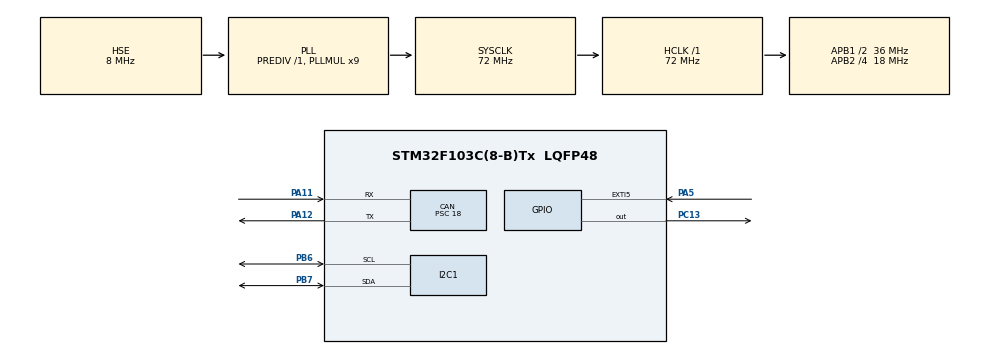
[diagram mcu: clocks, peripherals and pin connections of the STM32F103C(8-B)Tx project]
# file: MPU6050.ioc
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CAN.BS1=CAN_BS1_2TQ
CAN.CalculateBaudRate=500000
CAN.CalculateTimeBit=2000
CAN.CalculateTimeQuantum=500.0
CAN.Prescaler=18
Mcu.Family=STM32F1
Mcu.Name=STM32F103C(8-B)Tx
Mcu.Package=LQFP48
NVIC.CAN1_RX1_IRQn=true\:0\:0\:false\:false\:true\:true\:true\:true
NVIC.EXTI9_5_IRQn=true\:1\:0\:true\:false\:true\:true\:true\:true
NVIC.PriorityGroup=NVIC_PRIORITYGROUP_4
NVIC.TIM2_IRQn=true\:1\:0\:true\:false\:true\:true\:true\:true
NVIC.USB_LP_CAN1_RX0_IRQn=true\:0\:0\:false\:false\:true\:true\:true\:true
PA11.Mode=CAN_Activate
PA11.Signal=CAN_RX
PA12.Mode=CAN_Activate
PA12.Signal=CAN_TX
PA13.Mode=Serial_Wire
PA13.Signal=SYS_JTMS-SWDIO
PA14.Mode=Serial_Wire
PA14.Signal=SYS_JTCK-SWCLK
PA5.Signal=GPXTI5
PB6.Mode=I2C
PB6.Signal=I2C1_SCL
PB7.Mode=I2C
PB7.Signal=I2C1_SDA
PC13-TAMPER-RTC.Signal=GPIO_Output
PC14-OSC32_IN.Mode=LSE-External-Oscillator
PC14-OSC32_IN.Signal=RCC_OSC32_IN
PC15-OSC32_OUT.Mode=LSE-External-Oscillator
PC15-OSC32_OUT.Signal=RCC_OSC32_OUT
PD0-OSC_IN.Mode=HSE-External-Oscillator
PD0-OSC_IN.Signal=RCC_OSC_IN
PD1-OSC_OUT.Mode=HSE-External-Oscillator
PD1-OSC_OUT.Signal=RCC_OSC_OUT
ProjectManager.HeapSize=0x200
ProjectManager.StackSize=0x400
ProjectManager.TargetToolchain=MDK-ARM V5.32
RCC.AHBFreq_Value=72000000
RCC.APB1CLKDivider=RCC_HCLK_DIV2
RCC.APB1Freq_Value=36000000
RCC.APB1TimFreq_Value=72000000
RCC.APB2CLKDivider=RCC_HCLK_DIV4
RCC.APB2Freq_Value=18000000
RCC.APB2TimFreq_Value=36000000
RCC.HCLKFreq_Value=72000000
RCC.PLLMUL=RCC_PLL_MUL9
RCC.PLLSourceVirtual=RCC_PLLSOURCE_HSE
RCC.SYSCLKFreq_VALUE=72000000
RCC.SYSCLKSource=RCC_SYSCLKSOURCE_PLLCLK
RCC.USBFreq_Value=72000000
TIM1.Period=65535
TIM1.Prescaler=71
TIM2.Period=999
TIM2.Prescaler=1079
VP_TIM1_VS_ClockSourceINT.Mode=Internal
VP_TIM2_VS_ClockSourceINT.Mode=Internal
board=custom

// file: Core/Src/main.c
/* USER CODE BEGIN Header */
/**
  ******************************************************************************
  * @file           : main.c
  * @brief          : Main program body
  ******************************************************************************
  * @attention
  *
  * Copyright (c) 2023 STMicroelectronics.
  * All rights reserved.
  *
  * This software is licensed under terms that can be found in the LICENSE file
  * in the root directory of this software component.
  * If no LICENSE file comes with this software, it is provided AS-IS.
  *
  ******************************************************************************
  */
/* USER CODE END Header */
#include "main.h"

/* USER CODE BEGIN Includes */
#include "CLCD_I2C.h"
#include "mpu6050.h"
#include "convert_lib.h"

/* USER CODE END Includes */

/* USER CODE BEGIN PD */
#define diameter            0.4 //(m)
#define PI                  3.14159
#define ACCELERATION				0
#define GYROSCOPE						1
#define ANGLE						  	2
#define IDLE								3
#define AUTO             		4
#define MANUAL 							5
#define MASTER_ID      			0x281
#define BACK_WHEEL_ID   		0x012
#define FRONT_WHEEL_ID   		0x274
#define BREAK      					0x222
/* USER CODE END PD */

CAN_HandleTypeDef hcan;

I2C_HandleTypeDef hi2c1;

TIM_HandleTypeDef htim1;
TIM_HandleTypeDef htim2;

/* USER CODE BEGIN PV */
// IMU variable
MPU6050_t 				Data;
uint16_t cnt = 0;

// I2C of LCD 16x2
CLCD_I2C_Name LCD1;
float adcValue;
float aileValue;
uint8_t mode=0 ;
uint8_t mode_1 = 3, changeMode;
char lcdAcelX[16];
char lcdAcelY[16];
char lcdADC[16];

float yawValue;

// CAN protocol variable
CAN_HandleTypeDef     CanHandle;
CAN_TxHeaderTypeDef   TxHeader;
CAN_RxHeaderTypeDef   RxHeader;
uint8_t               TxData[8];
uint8_t               RxData[8];
uint32_t              TxMailbox;

/* USER CODE END PV */

void SystemClock_Config(void);
static void MX_GPIO_Init(void);
static void MX_I2C1_Init(void);
static void MX_CAN_Init(void);
static void MX_TIM1_Init(void);
static void MX_TIM2_Init(void);
/* USER CODE BEGIN PFP */
void HAL_TIM_PeriodElapsedCallback(TIM_HandleTypeDef *htim);
void dc_motor_control(float setpoint, float input);
float pid_controller(float setpoint, float input);
void WriteCAN(uint16_t ID,uint8_t *data);
void HAL_CAN_RxFifo0MsgPendingCallback(CAN_HandleTypeDef *hcan);
void HAL_GPIO_EXTI_Callback(uint16_t GPIO_Pin);
/* USER CODE END PFP */

int main(void)
{

  /* MCU Configuration--------------------------------------------------------*/

  /* Reset of all peripherals, Initializes the Flash interface and the Systick. */
  HAL_Init();

  /* Configure the system clock */
  SystemClock_Config();

  /* Initialize all configured peripherals */
  MX_GPIO_Init();
  MX_I2C1_Init();
  MX_CAN_Init();
  MX_TIM1_Init();
  MX_TIM2_Init();
  /* USER CODE BEGIN 2 */
	// start analog to digital convert

  //Start timer
	HAL_TIM_Base_Start(&htim1);

	// Initial CAN protocol
	HAL_CAN_Start(&hcan);
	HAL_CAN_ActivateNotification(&hcan, CAN_IT_RX_FIFO0_MSG_PENDING);

  TxHeader.DLC = 8;
  TxHeader.ExtId = 0;
  TxHeader.IDE = CAN_ID_STD;
  TxHeader.RTR = CAN_RTR_DATA;
  TxHeader.TransmitGlobalTime = DISABLE;

	HAL_Delay(1000);
	while(MPU6050_Init(&hi2c1)){	HAL_GPIO_WritePin(GPIOC,GPIO_PIN_13,1);}

  /* USER CODE END 2 */

  /* Infinite loop */
  while (1)
  {

	}
}

void SystemClock_Config(void)
{
  RCC_OscInitTypeDef RCC_OscInitStruct = {0};
  RCC_ClkInitTypeDef RCC_ClkInitStruct = {0};

  /** Initializes the RCC Oscillators according to the specified parameters
  * in the RCC_OscInitTypeDef structure.
  */
  RCC_OscInitStruct.OscillatorType = RCC_OSCILLATORTYPE_HSE;
  RCC_OscInitStruct.HSEState = RCC_HSE_ON;
  RCC_OscInitStruct.HSEPredivValue = RCC_HSE_PREDIV_DIV1;
  RCC_OscInitStruct.HSIState = RCC_HSI_ON;
  RCC_OscInitStruct.PLL.PLLState = RCC_PLL_ON;
  RCC_OscInitStruct.PLL.PLLSource = RCC_PLLSOURCE_HSE;
  RCC_OscInitStruct.PLL.PLLMUL = RCC_PLL_MUL9;
  if (HAL_RCC_OscConfig(&RCC_OscInitStruct) != HAL_OK)
  {
    Error_Handler();
  }

  /** Initializes the CPU, AHB and APB buses clocks
  */
  RCC_ClkInitStruct.ClockType = RCC_CLOCKTYPE_HCLK|RCC_CLOCKTYPE_SYSCLK
                              |RCC_CLOCKTYPE_PCLK1|RCC_CLOCKTYPE_PCLK2;
  RCC_ClkInitStruct.SYSCLKSource = RCC_SYSCLKSOURCE_PLLCLK;
  RCC_ClkInitStruct.AHBCLKDivider = RCC_SYSCLK_DIV1;
  RCC_ClkInitStruct.APB1CLKDivider = RCC_HCLK_DIV2;
  RCC_ClkInitStruct.APB2CLKDivider = RCC_HCLK_DIV4;

  if (HAL_RCC_ClockConfig(&RCC_ClkInitStruct, FLASH_LATENCY_2) != HAL_OK)
  {
    Error_Handler();
  }
}

static void MX_CAN_Init(void)
{

  hcan.Instance = CAN1;
  hcan.Init.Prescaler = 18;
  hcan.Init.Mode = CAN_MODE_NORMAL;
  hcan.Init.SyncJumpWidth = CAN_SJW_1TQ;
  hcan.Init.TimeSeg1 = CAN_BS1_2TQ;
  hcan.Init.TimeSeg2 = CAN_BS2_1TQ;
  hcan.Init.TimeTriggeredMode = DISABLE;
  hcan.Init.AutoBusOff = DISABLE;
  hcan.Init.AutoWakeUp = DISABLE;
  hcan.Init.AutoRetransmission = DISABLE;
  hcan.Init.ReceiveFifoLocked = DISABLE;
  hcan.Init.TransmitFifoPriority = DISABLE;
  if (HAL_CAN_Init(&hcan) != HAL_OK)
  {
    Error_Handler();
  }
  /* USER CODE BEGIN CAN_Init 2 */
	  CAN_FilterTypeDef canfilterconfig;

  canfilterconfig.FilterActivation = CAN_FILTER_ENABLE;
  canfilterconfig.FilterBank = 10;
  canfilterconfig.FilterFIFOAssignment = CAN_RX_FIFO0;
  canfilterconfig.FilterIdHigh = 0x0000;
  canfilterconfig.FilterIdLow = 0x0000;
  canfilterconfig.FilterMaskIdHigh = 0x0000;
  canfilterconfig.FilterMaskIdLow = 0x0000;
  canfilterconfig.FilterMode = CAN_FILTERMODE_IDMASK;
  canfilterconfig.FilterScale = CAN_FILTERSCALE_32BIT;
  canfilterconfig.SlaveStartFilterBank = 13;

  HAL_CAN_ConfigFilter(&hcan, &canfilterconfig);

  /* USER CODE END CAN_Init 2 */

}

static void MX_I2C1_Init(void)
{

  hi2c1.Instance = I2C1;
  hi2c1.Init.ClockSpeed = 100000;
  hi2c1.Init.DutyCycle = I2C_DUTYCYCLE_2;
  hi2c1.Init.OwnAddress1 = 0;
  hi2c1.Init.AddressingMode = I2C_ADDRESSINGMODE_7BIT;
  hi2c1.Init.DualAddressMode = I2C_DUALADDRESS_DISABLE;
  hi2c1.Init.OwnAddress2 = 0;
  hi2c1.Init.GeneralCallMode = I2C_GENERALCALL_DISABLE;
  hi2c1.Init.NoStretchMode = I2C_NOSTRETCH_DISABLE;
  if (HAL_I2C_Init(&hi2c1) != HAL_OK)
  {
    Error_Handler();
  }

}

static void MX_TIM1_Init(void)
{

  TIM_ClockConfigTypeDef sClockSourceConfig = {0};
  TIM_MasterConfigTypeDef sMasterConfig = {0};

  htim1.Instance = TIM1;
  htim1.Init.Prescaler = 71;
  htim1.Init.CounterMode = TIM_COUNTERMODE_UP;
  htim1.Init.Period = 65535;
  htim1.Init.ClockDivision = TIM_CLOCKDIVISION_DIV1;
  htim1.Init.RepetitionCounter = 0;
  htim1.Init.AutoReloadPreload = TIM_AUTORELOAD_PRELOAD_DISABLE;
  if (HAL_TIM_Base_Init(&htim1) != HAL_OK)
  {
    Error_Handler();
  }
  sClockSourceConfig.ClockSource = TIM_CLOCKSOURCE_INTERNAL;
  if (HAL_TIM_ConfigClockSource(&htim1, &sClockSourceConfig) != HAL_OK)
  {
    Error_Handler();
  }
  sMasterConfig.MasterOutputTrigger = TIM_TRGO_RESET;
  sMasterConfig.MasterSlaveMode = TIM_MASTERSLAVEMODE_DISABLE;
  if (HAL_TIMEx_MasterConfigSynchronization(&htim1, &sMasterConfig) != HAL_OK)
  {
    Error_Handler();
  }

}

static void MX_TIM2_Init(void)
{

  TIM_ClockConfigTypeDef sClockSourceConfig = {0};
  TIM_MasterConfigTypeDef sMasterConfig = {0};

  htim2.Instance = TIM2;
  htim2.Init.Prescaler = 1079;
  htim2.Init.CounterMode = TIM_COUNTERMODE_UP;
  htim2.Init.Period = 999;
  htim2.Init.ClockDivision = TIM_CLOCKDIVISION_DIV1;
  htim2.Init.AutoReloadPreload = TIM_AUTORELOAD_PRELOAD_DISABLE;
  if (HAL_TIM_Base_Init(&htim2) != HAL_OK)
  {
    Error_Handler();
  }
  sClockSourceConfig.ClockSource = TIM_CLOCKSOURCE_INTERNAL;
  if (HAL_TIM_ConfigClockSource(&htim2, &sClockSourceConfig) != HAL_OK)
  {
    Error_Handler();
  }
  sMasterConfig.MasterOutputTrigger = TIM_TRGO_RESET;
  sMasterConfig.MasterSlaveMode = TIM_MASTERSLAVEMODE_DISABLE;
  if (HAL_TIMEx_MasterConfigSynchronization(&htim2, &sMasterConfig) != HAL_OK)
  {
    Error_Handler();
  }

}

static void MX_GPIO_Init(void)
{
  GPIO_InitTypeDef GPIO_InitStruct = {0};

  /* GPIO Ports Clock Enable */
  __HAL_RCC_GPIOC_CLK_ENABLE();
  __HAL_RCC_GPIOD_CLK_ENABLE();
  __HAL_RCC_GPIOA_CLK_ENABLE();
  __HAL_RCC_GPIOB_CLK_ENABLE();

  /*Configure GPIO pin Output Level */
  HAL_GPIO_WritePin(GPIOC, GPIO_PIN_13, GPIO_PIN_RESET);

  /*Configure GPIO pin : PC13 */
  GPIO_InitStruct.Pin = GPIO_PIN_13;
  GPIO_InitStruct.Mode = GPIO_MODE_OUTPUT_PP;
  GPIO_InitStruct.Pull = GPIO_NOPULL;
  GPIO_InitStruct.Speed = GPIO_SPEED_FREQ_LOW;
  HAL_GPIO_Init(GPIOC, &GPIO_InitStruct);

  /*Configure GPIO pin : PA5 */
  GPIO_InitStruct.Pin = GPIO_PIN_5;
  GPIO_InitStruct.Mode = GPIO_MODE_IT_RISING;
  GPIO_InitStruct.Pull = GPIO_NOPULL;
  HAL_GPIO_Init(GPIOA, &GPIO_InitStruct);

  /* EXTI interrupt init*/
  HAL_NVIC_SetPriority(EXTI9_5_IRQn, 0, 0);
  HAL_NVIC_EnableIRQ(EXTI9_5_IRQn);

}

/* USER CODE BEGIN 4 */

void HAL_GPIO_EXTI_Callback(uint16_t GPIO_Pin)
{
	if (GPIO_Pin==GPIO_PIN_5)
	{
		if(cnt < 3000 )
		{
			MPU6050_Calculation_offset_Gryo(&hi2c1, &Data);
			cnt++;
			if(cnt==3000)
			{
				Data.gyroZoffset = Data.gyroZoffset/3000.0;
				HAL_TIM_Base_Start_IT(&htim2);
			}
		}
		else
		MPU6050_Read_All(&hi2c1, &Data);
	}
}

void WriteCAN(uint16_t ID,uint8_t *data)
{
	uint8_t dataOut[8];
	TxHeader.StdId = ID;
	dataOut[0] = data[0];
	dataOut[1] = data[1];
	dataOut[2] = data[2];
	dataOut[3] = data[3];
	dataOut[4] = data[4];
	dataOut[5] = data[5];
	dataOut[6] = data[6];
	dataOut[7] = data[7];
	HAL_CAN_AddTxMessage(&hcan, &TxHeader, dataOut, &TxMailbox);

}
void HAL_CAN_RxFifo0MsgPendingCallback(CAN_HandleTypeDef *hcan)
{
	if(HAL_CAN_GetRxMessage(hcan, CAN_RX_FIFO0, &RxHeader, RxData)== HAL_OK)
	{
	}

}

void HAL_TIM_PeriodElapsedCallback(TIM_HandleTypeDef *htim)
{
	if(htim ->Instance == TIM2)
	{
		HAL_GPIO_TogglePin(GPIOC, GPIO_PIN_13);
		yawValue = (float)Data.AngleZ;
		convertFloatTo8Byte(yawValue, TxData, 4, 7);
		TxData[3] = 'Y';
		WriteCAN(MASTER_ID, TxData);

	}
}
/* USER CODE END 4 */

void Error_Handler(void)
{
  __disable_irq();
  while (1)
  {
  }
}
